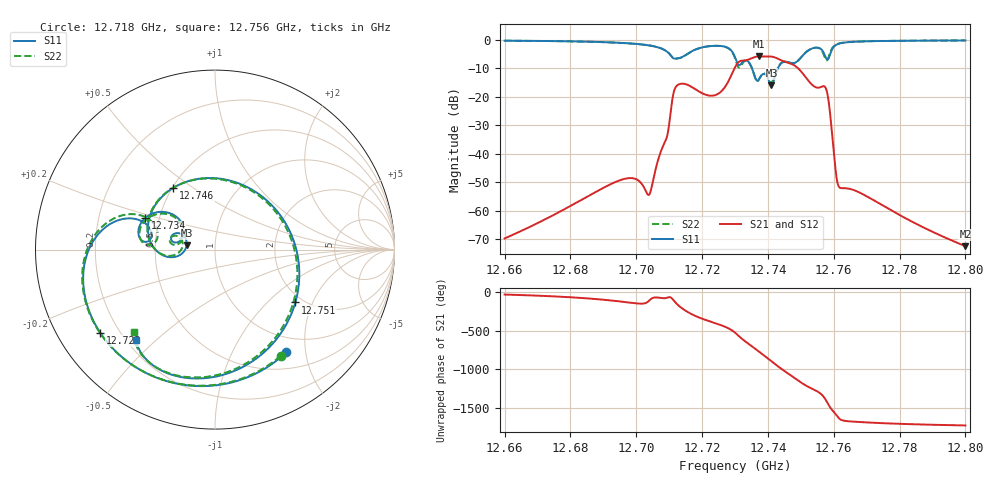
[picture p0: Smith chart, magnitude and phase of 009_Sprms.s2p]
! TOUCHSTONE file generated by CST MICROWAVE STUDIO
! Date and time: Wed Jul 31 11:02:37 2024
! Project name: WaveGuide_BPF-Ver4.1_U-shape_Ku_T3_C4_CWA_2.cst
! Parameters = {cavity_h=16; cavity_l0=10; cavity_l1=15.2337; cavity_l2=16.8358; cavity_l3=17.1113; cavity_l4=17.2346; cavity_l5=17.087; cavity_l6=17.6054; cavity_r=2.5; cavity_screw_l=0.5; cavity_screw_r=1.5; cavity_w=8; iris_h00=0; iris_h01=8.8258; iris_h112=0; iris_h12=5.5951; iris_h211=3.6652; i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
! Header version: 2018
! Port assignment regex: !\s*Touchstone port\s*([0-9]+)\s*=\s*(CST MWS port|CST DS port)\s*([0-9]+|Zmin|Zmax)\s*\(\"(.*)\"\)(\s*mode\s*([0-9]+))?.*
! Touchstone port assignment:
! Touchstone port 1 = CST MWS port 1 ("")
! Touchstone port 2 = CST MWS port 2 ("")
# GHz S RI R 50
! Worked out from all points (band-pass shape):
!   5001 points, 12.66 GHz to 12.8 GHz, reference 50 ohm
!   highest |S21| = -5.76 dB at 12.737 GHz (marker M1); lowest = -72.5 dB at 12.8 GHz (marker M2)
!   |S21| within 3 dB of the highest: 12.7304 GHz to 12.74778 GHz (17.37 MHz wide, 0.136 % of centre)
!   lowest |S11| = -15.9 dB at 12.741 GHz (marker M3), VSWR 1.38, Z = 36.3 + j1.71 ohm
!   |S11| at or under -10 dB: 12.73518 GHz to 12.74301 GHz (7.825 MHz wide, 0.0614 % of centre)
!   |S22| runs from -14.8 to -0.1 dB; largest |S21 - S12| = 1e-09
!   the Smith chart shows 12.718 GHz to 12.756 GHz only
!   S11 on the Smith chart (normalised r, x): 12.718 GHz: 0.75, -1.65; 12.725 GHz: 0.13, -0.32; 12.734 GHz: 0.42, +0.18; 12.746 GHz: 0.51, +0.42; 12.751 GHz: 1.82, -1.50; 12.756 GHz: 0.24, -0.43
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12.66  0.4717 0.8539  0.000269 -0.000177  0.000269 -0.000177  0.4816 0.848
12.68335  0.8939 0.2985  0.000331 -0.0015  0.000331 -0.0015  0.9003 0.2759
12.69634  0.7237 -0.511  -0.00228 -0.00278  -0.00228 -0.00278  0.7025 -0.5387
12.70379  -0.0531 -0.8049  -0.000838 -0.00168  -0.000838 -0.00168  -0.0866 -0.8036
12.70668  -0.473 -0.5707  0.00234 -0.00757  0.00234 -0.00757  -0.4951 -0.5561
12.70953  -0.6124 0.0264  0.0071 -0.0212  0.0071 -0.0212  -0.6148 0.0404
12.71295  0.0181 0.4818  -0.1662 -0.000518  -0.1662 -0.000518  0.0218 0.4776
12.71558  0.5706 0.0471  -0.0336 0.1596  -0.0336 0.1596  0.5671 0.0247
12.71838  0.3963 -0.5719  0.0985 0.0869  0.0985 0.0869  0.3659 -0.5914
12.72527  -0.6388 -0.4641  0.0541 -0.1041  0.0541 -0.1041  -0.6606 -0.4332
12.73  -0.4703 0.1739  -0.3219 -0.0771  -0.3219 -0.0771  -0.4362 0.1957
12.73384  -0.3903 0.1745  0.2397 0.3791  0.2397 0.3791  -0.3912 0.1597
12.73734  -0.2021 0.0439  0.2945 -0.4231  0.2945 -0.4231  -0.2024 0.0327
12.74109  -0.1582 0.023  -0.5115 -0.0216  -0.5115 -0.0216  -0.1806 0.0203
12.74571  -0.232 0.3443  0.3286 0.2373  0.3286 0.2373  -0.2292 0.347
12.75055  0.4479 -0.2943  -0.0758 -0.248  -0.0758 -0.248  0.4283 -0.3203
12.75335  -0.00235 -0.7089  -0.1631 -0.0232  -0.1631 -0.0232  -0.043 -0.7085
12.7564  -0.44 -0.5037  -0.047 0.1444  -0.047 0.1444  -0.4527 -0.4592
12.75822  -0.2357 -0.3893  0.1013 -0.011  0.1013 -0.011  -0.2075 -0.4202
12.76167  -0.5758 -0.6483  -0.00242 0.000874  -0.00242 0.000874  -0.6001 -0.6339
12.77668  -0.9653 -0.0499  -0.000135 0.00106  -0.000135 0.00106  -0.9665 -0.0365
12.8  -0.9122 0.3692  7.68e-05 0.000223  7.68e-05 0.000223  -0.9095 0.3764
